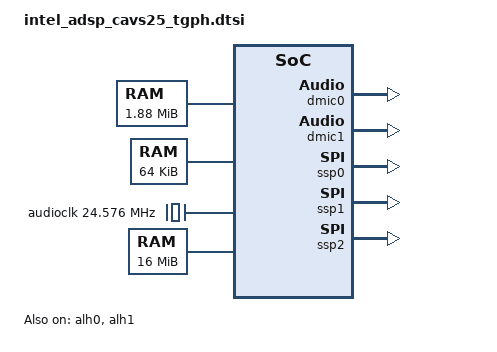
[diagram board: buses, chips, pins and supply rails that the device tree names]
/*
 * Copyright (c) 2019,2022 Intel Corporation
 *
 * SPDX-License-Identifier: Apache-2.0
 */

#include <xtensa/intel/intel_adsp_cavs.dtsi>
#include <mem.h>

/ {
	cpus {
		#address-cells = <1>;
		#size-cells = <0>;

		cpu0: cpu@0 {
			device_type = "cpu";
			compatible = "cdns,tensilica-xtensa-lx6";
			reg = <0>;
			cpu-power-states = <&d3>;
			i-cache-line-size = <64>;
			d-cache-line-size = <64>;
		};

		cpu1: cpu@1 {
			device_type = "cpu";
			compatible = "cdns,tensilica-xtensa-lx6";
			reg = <1>;
			cpu-power-states = <&d3>;
		};

		power-states {
			/* PM_STATE_SOFT_OFF can be entered only by calling
			 * pm_state_force. The procedure is triggered by IPC
			 * from the HOST (SET_DX).
			 */
			d3: off {
				compatible = "zephyr,power-state";
				power-state-name = "soft-off";
				min-residency-us = <2147483647>;
				exit-latency-us = <0>;
			};
		};
	};

	sram0: memory@be000000 {
		device_type = "memory";
		compatible = "mmio-sram";
		reg = <0xbe000000 DT_SIZE_K(1920)>;
	};

	sram1: memory@be800000 {
		device_type = "memory";
		compatible = "mmio-sram";
		reg = <0xbe800000 DT_SIZE_K(64)>;
	};

	sysclk: system-clock {
		compatible = "fixed-clock";
		clock-frequency = <38400000>;
		#clock-cells = <0>;
	};

	audioclk: audio-clock {
		compatible = "fixed-clock";
		clock-frequency = <24576000>;
		#clock-cells = <0>;
	};

	pllclk: pll-clock {
		compatible = "fixed-clock";
		clock-frequency = <96000000>;
		#clock-cells = <0>;
	};

	clkctl: clkctl {
		compatible = "intel,adsp-shim-clkctl";
		adsp-clkctl-clk-wovcro = <0>;
		adsp-clkctl-clk-lpro = <1>;
		adsp-clkctl-clk-hpro = <2>;
		adsp-clkctl-freq-enc = <0x1a 0x20000002 0x80000002>;
		adsp-clkctl-freq-mask = <0x10 0x20000000 0x80000000>;
		adsp-clkctl-freq-default = <2>;
		adsp-clkctl-freq-lowest = <0>;
		wovcro-supported;
	};

	IMR1: memory@b0000000 {
		compatible = "intel,adsp-imr";
		reg = <0xB0000000 DT_SIZE_M(16)>;
		block-size = <0x1000>;
		zephyr,memory-region = "IMR1";
	};

	soc {
		shim: shim@71f00 {
			compatible = "intel,adsp-shim";
			reg = <0x71f00 0x100>;
		};

		mem_window0: mem_window@71a00 {
			compatible = "intel,adsp-mem-window";
			reg = <0x71a00 0x8>;
			offset = <0x4000>;
			memory = <&sram0>;
			initialize;
			read-only;
		};
		mem_window1: mem_window@71a08 {
			compatible = "intel,adsp-mem-window";
			reg = <0x71a08 0x8>;
			memory = <&sram0>;
		};

		mem_window2: mem_window@71a10 {
			compatible = "intel,adsp-mem-window";
			reg = <0x71a10 0x8>;
			memory = <&sram0>;
		};

		mem_window3: mem_window@71a18 {
			compatible = "intel,adsp-mem-window";
			reg = <0x71a18 0x8>;
			memory = <&sram0>;
			read-only;
		};

		timer: timer {
			compatible = "intel,adsp-timer";
			syscon = <&shim>;
		};

		sspbase: ssp_base@71c00 {
			compatible = "intel,cavs-sspbase";
			reg = <0x71c00 0x100>;
		};

		l2lm: l2lm@71d00 {
			compatible = "intel,cavs-l2lm";
			reg = <0x71d00 0x20>;
		};

		adsp_host_ipc: cavs_host_ipc@71e00 {
			compatible = "intel,adsp-host-ipc";
			reg = <0x71e00 0x30>;
			interrupts = <7 0 0>;
			interrupt-parent = <&cavs_intc0>;
		};

		core_intc: core_intc@0 {
			compatible = "cdns,xtensa-core-intc";
			reg = <0x00 0x400>;
			interrupt-controller;
			#interrupt-cells = <3>;
		};

		cavs_intc0: cavs@78800  {
			compatible = "intel,cavs-intc";
			reg = <0x78800 0x10>;
			interrupt-controller;
			#interrupt-cells = <3>;
			interrupts = <6 0 0>;
			interrupt-parent = <&core_intc>;
		};

		cavs_intc1: cavs@78810  {
			compatible = "intel,cavs-intc";
			reg = <0x78810 0x10>;
			interrupt-controller;
			#interrupt-cells = <3>;
			interrupts = <0xA 0 0>;
			interrupt-parent = <&core_intc>;
		};

		cavs_intc2: cavs@78820  {
			compatible = "intel,cavs-intc";
			reg = <0x78820 0x10>;
			interrupt-controller;
			#interrupt-cells = <3>;
			interrupts = <0XD 0 0>;
			interrupt-parent = <&core_intc>;
		};

		cavs_intc3: cavs@78830  {
			compatible = "intel,cavs-intc";
			reg = <0x78830 0x10>;
			interrupt-controller;
			#interrupt-cells = <3>;
			interrupts = <0x10 0 0>;
			interrupt-parent = <&core_intc>;
		};

		adsp_idc: idc@1200 {
			compatible = "intel,adsp-idc";
			reg = <0x1200 0x80>;
			interrupts = <8 0 0>;
			interrupt-parent = <&cavs_intc0>;
		};

		tlb: tlb@3000 {
			compatible = "intel,adsp-tlb";
			reg = <0x3000 0x1000>;
			paddr-size = <11>;
		};

		dmic0: dmic0@10000 {
			compatible = "intel,dai-dmic";
			reg = <0x10000 0x8000>;
			shim = <0x71E80>;
			fifo = <0x0008>;
			interrupts = <0x08 0 0>;
			interrupt-parent = <&cavs_intc3>;
		};

		dmic1: dmic1@10000 {
			compatible = "intel,dai-dmic";
			reg = <0x10000 0x8000>;
			shim = <0x71E80>;
			fifo = <0x0108>;
			interrupts = <0x09 0 0>;
			interrupt-parent = <&cavs_intc3>;
		};

		/*
		 * FIXME this is modeling individual alh channels/instances
		 * with node labels, which has problems. A better representation
		 * is discussed here:
		 *
		 * https://github.com/zephyrproject-rtos/zephyr/pull/50287#discussion_r974591009
		 */
		alh0: alh0@71000 {
			compatible = "intel,alh-dai";
			reg = <0x00071000 0x00071200>;

			status = "okay";
		};

		alh1: alh1@71000 {
			compatible = "intel,alh-dai";
			reg = <0x00071000 0x00071200>;

			status = "okay";
		};

		ssp0: ssp@77000 {
			compatible = "intel,ssp-dai";
			#address-cells = <1>;
			#size-cells = <0>;
			reg = <0x00077000 0x200
			       0x00078C00 0x008>;
			interrupts = <0x01 0 0>;
			interrupt-parent = <&cavs_intc3>;
			dmas = <&lpgpdma0 2
				&lpgpdma0 3>;
			dma-names = "tx", "rx";

			status = "okay";
		};

		ssp1: ssp@77200 {
			compatible = "intel,ssp-dai";
			#address-cells = <1>;
			#size-cells = <0>;
			reg = <0x00077200 0x200
			       0x00078C00 0x008>;
			interrupts = <0x01 0 0>;
			interrupt-parent = <&cavs_intc3>;
			dmas = <&lpgpdma0 4
				&lpgpdma0 5>;
			dma-names = "tx", "rx";

			status = "okay";
		};

		ssp2: ssp@77400 {
			compatible = "intel,ssp-dai";
			#address-cells = <1>;
			#size-cells = <0>;
			reg = <0x00077400 0x200
			       0x00078C00 0x008>;
			interrupts = <0x02 0 0>;
			interrupt-parent = <&cavs_intc3>;
			dmas = <&lpgpdma0 6
				&lpgpdma0 7>;
			dma-names = "tx", "rx";

			status = "okay";
		};
	};

	hdas {
		#address-cells = <1>;
		#size-cells = <0>;

		hda0: hda@0 {
			compatible = "intel,hda-dai";
			status = "okay";
			reg = <0>;
		};
		hda1: hda@1 {
			compatible = "intel,hda-dai";
			status = "okay";
			reg = <1>;
		};
		hda2: hda@2 {
			compatible = "intel,hda-dai";
			status = "okay";
			reg = <2>;
		};
		hda3: hda@3 {
			compatible = "intel,hda-dai";
			status = "okay";
			reg = <3>;
		};
		hda4: hda@4 {
			compatible = "intel,hda-dai";
			status = "okay";
			reg = <4>;
		};
		hda5: hda@5 {
			compatible = "intel,hda-dai";
			status = "okay";
			reg = <5>;
		};
		hda6: hda@6 {
			compatible = "intel,hda-dai";
			status = "okay";
			reg = <6>;
		};
		hda7: hda@7 {
			compatible = "intel,hda-dai";
			status = "okay";
			reg = <7>;
		};
		hda8: hda@8 {
			compatible = "intel,hda-dai";
			status = "okay";
			reg = <8>;
		};
		hda9: hda@9 {
			compatible = "intel,hda-dai";
			status = "okay";
			reg = <9>;
		};
		hda10: hda@a {
			compatible = "intel,hda-dai";
			status = "okay";
			reg = <0x0a>;
		};
		hda11: hda@b {
			compatible = "intel,hda-dai";
			status = "okay";
			reg = <0x0b>;
		};
		hda12: hda@c {
			compatible = "intel,hda-dai";
			status = "okay";
			reg = <0x0c>;
		};
		hda13: hda@d {
			compatible = "intel,hda-dai";
			status = "okay";
			reg = <0x0d>;
		};
		hda14: hda@e {
			compatible = "intel,hda-dai";
			status = "okay";
			reg = <0x0e>;
		};
		hda15: hda@f {
			compatible = "intel,hda-dai";
			status = "okay";
			reg = <0x0f>;
		};
	};
};
